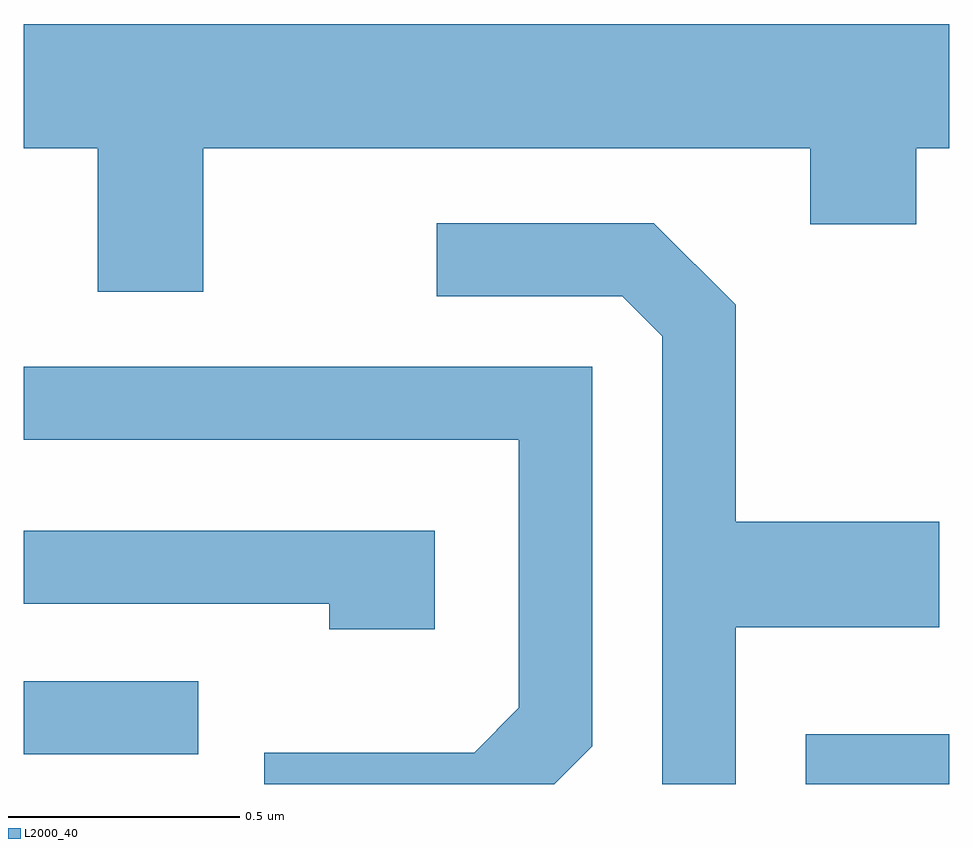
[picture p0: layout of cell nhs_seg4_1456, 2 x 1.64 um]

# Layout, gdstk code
import gdstk
lib = gdstk.Library(unit=1e-6, precision=1e-09)
def R(c, l, rs):  # rectangles x0, y0, x1, y1
    for r in rs: c.add(gdstk.rectangle(r[:2], r[2:], *l))
def P(c, l, *ps):  # polygons
    for p in ps: c.add(gdstk.Polygon(p, *l))
L2000_40 = (2000, 40)

nhs_seg4_1456 = lib.new_cell('nhs_seg4_1456')
R(nhs_seg4_1456, L2000_40, [(197.301,1339.982,197.611,1340.089), (195.611,1340.046,195.988,1340.204)])
P(nhs_seg4_1456, L2000_40, [(195.999,1341.356),(197.311,1341.356),(197.311,1341.191),(197.539,1341.191),(197.539,1341.356),(197.611,1341.356),(197.611,1341.624),(195.611,1341.624),(195.611,1341.356),(195.771,1341.356),(195.771,1341.046),(195.999,1341.046)],
  [(197.149,1340.321),(197.589,1340.321),(197.589,1340.549),(197.149,1340.549),(197.149,1341.017),(196.972,1341.194),(196.503,1341.194),(196.503,1341.036),(196.904,1341.036),(196.991,1340.949),(196.991,1339.982),(197.149,1339.982)],
  [(196.839,1340.064),(196.839,1340.884),(195.611,1340.884),(195.611,1340.726),(196.681,1340.726),(196.681,1340.147),(196.584,1340.049),(196.131,1340.049),(196.131,1339.982),(196.757,1339.982)],
  [(196.499,1340.529),(195.611,1340.529),(195.611,1340.371),(196.271,1340.371),(196.271,1340.316),(196.499,1340.316)])

lib.write_gds('nhs_seg4_1456.gds')
